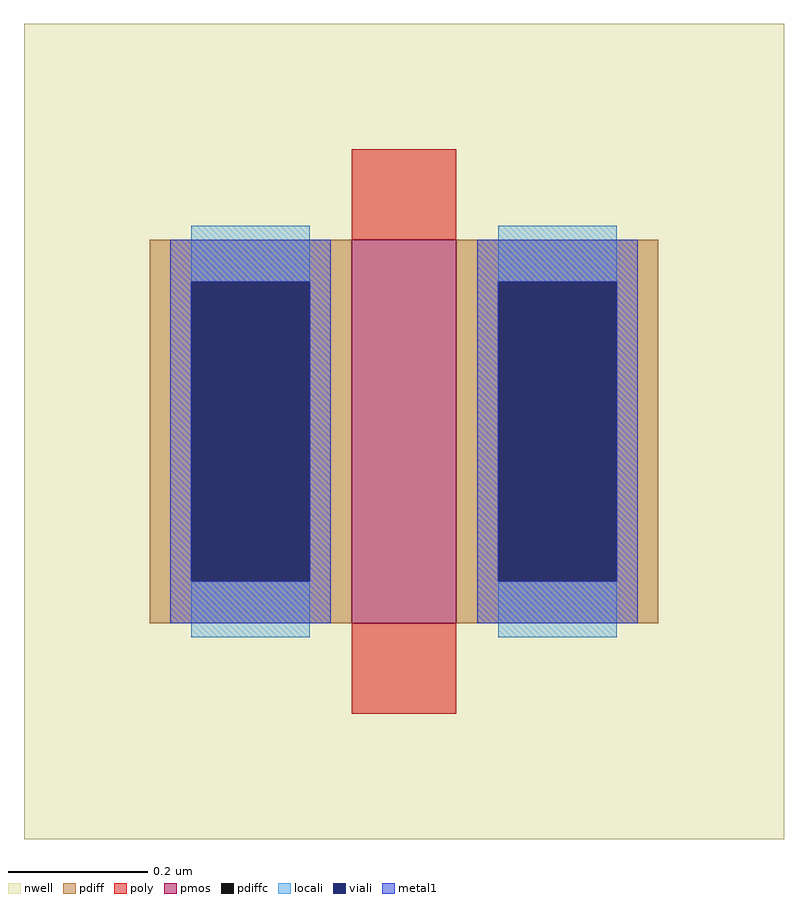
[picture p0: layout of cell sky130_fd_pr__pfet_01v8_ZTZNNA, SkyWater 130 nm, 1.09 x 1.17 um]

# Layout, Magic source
magic
tech sky130A
magscale 1 2
<< nwell >>
rect -109 -117 109 117
<< pmos >>
rect -15 -55 15 55
<< pdiff >>
rect -73 43 -15 55
rect -73 -43 -61 43
rect -27 -43 -15 43
rect -73 -55 -15 -43
rect 15 43 73 55
rect 15 -43 27 43
rect 61 -43 73 43
rect 15 -55 73 -43
<< pdiffc >>
rect -61 -43 -27 43
rect 27 -43 61 43
<< poly >>
rect -15 55 15 81
rect -15 -81 15 -55
<< locali >>
rect -61 43 -27 59
rect -61 -59 -27 -43
rect 27 43 61 59
rect 27 -59 61 -43
<< viali >>
rect -61 -43 -27 43
rect 27 -43 61 43
<< metal1 >>
rect -67 43 -21 55
rect -67 -43 -61 43
rect -27 -43 -21 43
rect -67 -55 -21 -43
rect 21 43 67 55
rect 21 -43 27 43
rect 61 -43 67 43
rect 21 -55 67 -43
<< properties >>
string gencell sky130_fd_pr__pfet_01v8
string parameters w 0.55 l 0.15 m 1 nf 1 diffcov 100 polycov 100 guard 0 glc 0 grc 0 gtc 0 gbc 0 tbcov 100 rlcov 100 topc 0 botc 0 poverlap 0 doverlap 0 lmin 0.15 wmin 0.42 compatible {sky130_fd_pr__pfet_01v8  sky130_fd_pr__pfet_01v8_lvt sky130_fd_pr__pfet_01v8_hvt  sky130_fd_pr__pfet_g5v0d10v5} full_metal 0 viagl 0 viagr 0 viagt 0 viagb 0 viagate 100 viadrn 100 viasrc 100
string library sky130
<< end >>
